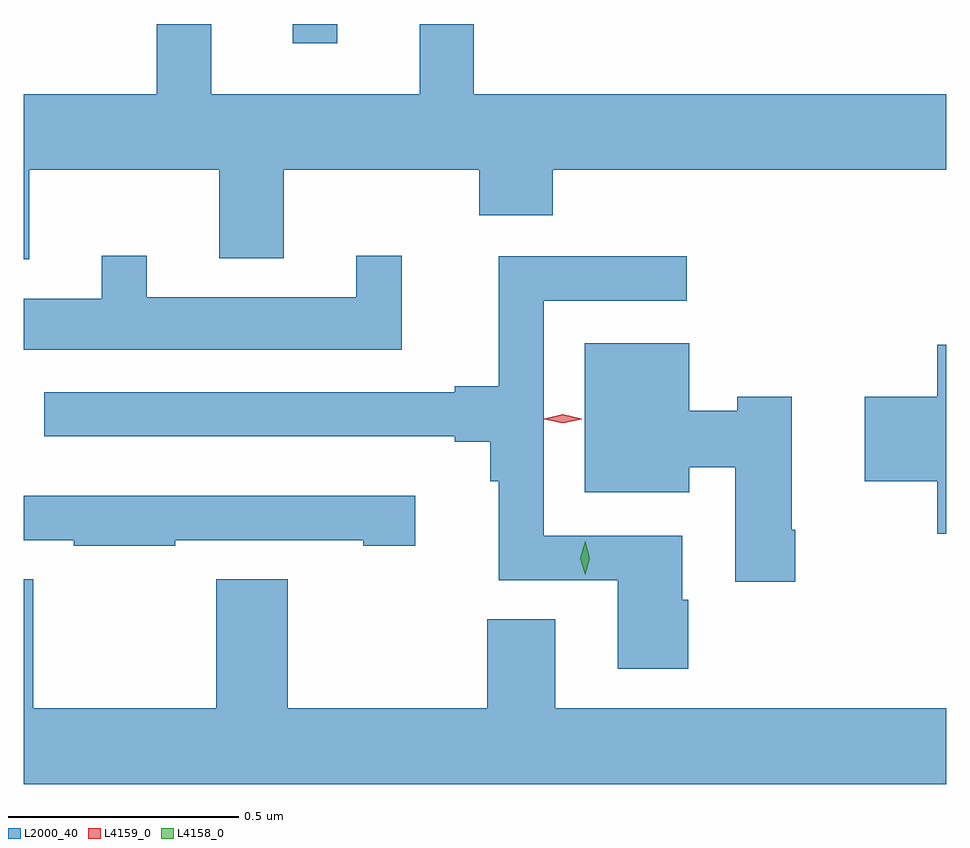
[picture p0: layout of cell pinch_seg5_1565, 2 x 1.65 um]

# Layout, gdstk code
import gdstk
lib = gdstk.Library(unit=1e-6, precision=1e-09)
def R(c, l, rs):  # rectangles x0, y0, x1, y1
    for r in rs: c.add(gdstk.rectangle(r[:2], r[2:], *l))
def P(c, l, *ps):  # polygons
    for p in ps: c.add(gdstk.Polygon(p, *l))
L2000_40 = (2000, 40)
L4158_0 = (4158, 0)
L4159_0 = (4159, 0)

pinch_seg5_1565 = lib.new_cell('pinch_seg5_1565')
R(pinch_seg5_1565, L2000_40, [(345.998,841.05,346.095,841.092)])
P(pinch_seg5_1565, L2000_40, [(345.427,840.776),(345.839,840.776),(345.839,840.584),(345.979,840.584),(345.979,840.776),(346.402,840.776),(346.402,840.677),(346.562,840.677),(346.562,840.776),(347.415,840.776),(347.415,840.94),(346.391,840.94),(346.391,841.092),(346.274,841.092),(346.274,840.94),(345.821,840.94),(345.821,841.092),(345.703,841.092),(345.703,840.94),(345.415,840.94),(345.415,840.582),(345.427,840.582)],
  [(346.235,840.589),(346.136,840.589),(346.136,840.499),(345.682,840.499),(345.682,840.589),(345.584,840.589),(345.584,840.496),(345.415,840.496),(345.415,840.386),(346.235,840.386)],
  [(346.856,839.843),(346.843,839.843),(346.843,839.982),(346.542,839.982),(346.542,840.492),(346.852,840.492),(346.852,840.588),(346.445,840.588),(346.445,840.307),(346.349,840.307),(346.349,840.294),(345.459,840.294),(345.459,840.198),(346.349,840.198),(346.349,840.186),(346.426,840.186),(346.426,840.101),(346.445,840.101),(346.445,839.886),(346.703,839.886),(346.703,839.694),(346.856,839.694)],
  [(347.088,839.995),(347.08,839.995),(347.08,840.284),(346.962,840.284),(346.962,840.253),(346.858,840.253),(346.858,840.4),(346.631,840.4),(346.631,840.077),(346.858,840.077),(346.858,840.131),(346.958,840.131),(346.958,839.883),(347.088,839.883)],
  [(347.415,840.397),(347.396,840.397),(347.396,840.284),(347.238,840.284),(347.238,840.101),(347.396,840.101),(347.396,839.987),(347.415,839.987)],
  [(345.743,839.973),(346.151,839.973),(346.151,839.961),(346.264,839.961),(346.264,840.069),(345.415,840.069),(345.415,839.973),(345.523,839.973),(345.523,839.961),(345.743,839.961)],
  [(347.415,839.608),(346.567,839.608),(346.567,839.801),(346.42,839.801),(346.42,839.608),(345.987,839.608),(345.987,839.888),(345.832,839.888),(345.832,839.608),(345.435,839.608),(345.435,839.888),(345.415,839.888),(345.415,839.444),(347.415,839.444)])
P(pinch_seg5_1565, L4158_0, [(346.632,839.898),(346.632,839.898),(346.622,839.934),(346.632,839.97),(346.632,839.97),(346.632,839.97),(346.642,839.934),(346.632,839.898)])
P(pinch_seg5_1565, L4159_0, [(346.584,840.226),(346.544,840.235),(346.544,840.236),(346.544,840.236),(346.584,840.246),(346.625,840.236),(346.625,840.236),(346.625,840.235)])

lib.write_gds('pinch_seg5_1565.gds')
